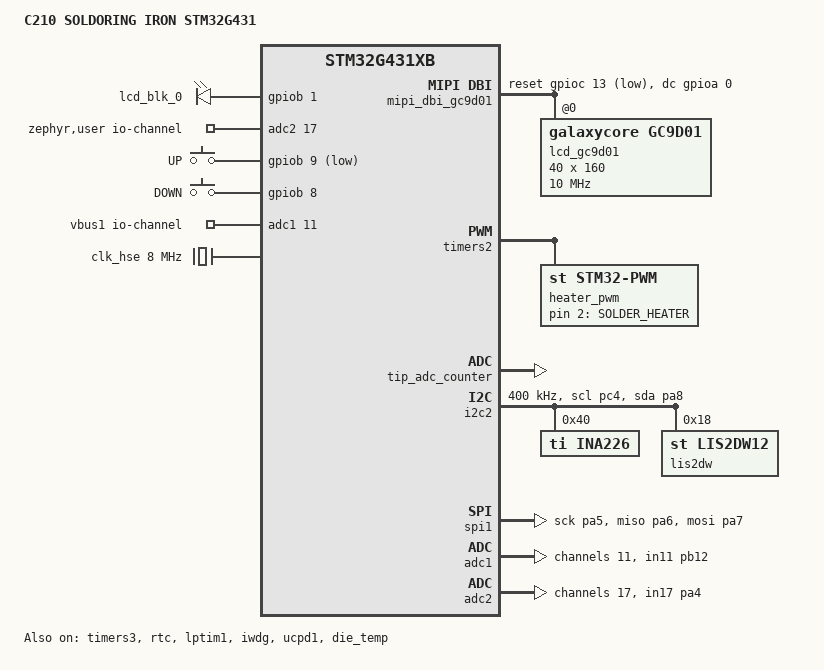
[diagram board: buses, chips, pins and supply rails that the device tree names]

/dts-v1/;
#include <st/g4/stm32g431Xb.dtsi>
#include <st/g4/stm32g431c(6-8-b)ux-pinctrl.dtsi>
#include <zephyr/dt-bindings/usb-c/pd.h>
#include <zephyr/dt-bindings/input/input-event-codes.h>

#include <zephyr/dt-bindings/display/panel.h>
#include <zephyr/dt-bindings/sensor/lis2dw12.h>
#include <zephyr/dt-bindings/pwm/pwm.h>



#include <zephyr/dt-bindings/mipi_dbi/mipi_dbi.h>


/ {
	model = "C210 SOLDORING IRON STM32G431";
	compatible = "mao,c210_v2_g431";

	chosen {
		zephyr,sram = &sram0;
		zephyr,flash = &flash0;
		zephyr,display = &lcd_gc9d01;

	};

	aliases {
		btn0 = &button_0;
		btn1 = &button_1;
		lcd-blk = &lcd_blk_0;
		ina226 = &ina226;
		usbc-port0 = &usbc1;
		watchdog0 = &iwdg;
	};

	leds: leds {
		compatible = "gpio-leds";
        lcd_blk_0: lcd_blk0 {
			gpios = <&gpiob 1 GPIO_ACTIVE_HIGH>;
		};
	};

    zephyr,user {
        io-channels = <&adc2 17>;
    };



	buttons: buttons {
		compatible = "gpio-keys";
		polling-mode;
		debounce-interval-ms = <30>;
		button_0: button0 {
			label = "UP";
			gpios = <&gpiob 9 (GPIO_PULL_UP | GPIO_ACTIVE_LOW)>;
			zephyr,code = <INPUT_KEY_0>;
		};
		button_1: button1 {
			label = "DOWN";
			gpios = <&gpiob 8  (GPIO_PULL_DOWN | GPIO_ACTIVE_HIGH)>;
			zephyr,code = <INPUT_KEY_1>;
		};
	};

	longpress {
          input = <&buttons>;
          compatible = "zephyr,input-longpress";
          input-codes = <INPUT_KEY_0>,<INPUT_KEY_1>;
          short-codes = <INPUT_KEY_A>,<INPUT_KEY_B>;
          long-codes = <INPUT_KEY_X>,<INPUT_KEY_Y>;
          long-delay-ms = <1000>;
    };
	vbus1: vbus {
		compatible = "zephyr,usb-c-vbus-adc";
		status = "okay";
		io-channels = <&adc1 11>;
		output-ohms = <3600>;
		full-ohms = <(35000+3600)>;
	};
	ports {
		#address-cells = <1>;
		#size-cells = <0>;

		usbc1: usbc-port@1 {
			compatible = "usb-c-connector";
			status = "okay";
			reg = <1>;
			tcpc = <&ucpd1>;
			vbus = <&vbus1>;
			data-role = "device";
			power-role = "sink";
			sink-pdos = <
				PDO_FIXED(5000, 100, PDO_FIXED_USB_COMM)
				PDO_FIXED(9000, 1000, 0)
			>;
		};
		
    };
    pwmleds: pwmleds {
        compatible = "pwm-leds";
        status = "okay";
        solder_heater: solder_heater {
            pwms = <&heater_pwm 2 PWM_USEC(50) PWM_POLARITY_NORMAL>; /* TIM2_CH2 */
            label = "SOLDER_HEATER";
        }; 
    };

	mipi_dbi_gc9d01: mipi_dbi_gc9d01 {
		compatible = "zephyr,mipi-dbi-spi";
		spi-dev = <&spi1>;
		dc-gpios = <&gpioa 0 GPIO_ACTIVE_HIGH>;
		reset-gpios = <&gpioc 13 GPIO_ACTIVE_LOW>;
		#address-cells = <1>;
		#size-cells = <0>;

		 lcd_gc9d01: gc9d01@0 {
            compatible = "galaxycore,gc9d01";
            reg = <0>;
            mipi-max-frequency = <10000000>; 
            mipi-mode= "MIPI_DBI_MODE_SPI_4WIRE";
            width = <40>;
            height = <160>;
            pixel-format = <PANEL_PIXEL_FORMAT_RGB_565>;
            orientation = "90";
            //display-inversion; /* 可选，启用颜色反转 */
            pwrctrl2= [2c];
            pwrctrl3= [1a];
            pwrctrl4= [28];
            gamma1= [13 15 04 05 01 38];
            gamma2= [4B B8 7B 34 35 EF];
            gamma3= [13 15 04 05 01 34];
            gamma4= [47 B4 72 34 35 DA];

         };
    };

};


/* 启用 timers2 和 PWM 子节点 */
&timers2 {
    status = "okay";

    heater_pwm: heater_pwm {
        compatible = "st,stm32-pwm";
        #pwm-cells = <3>;
        pinctrl-0 = <&tim2_ch2_pa1>;
        pinctrl-names = "default";
        status = "okay";
    };
};

&timers3 {
    status = "okay";
    st,prescaler = <143>;


    //用counter对烙铁头热电偶定时采样
    tip_adc_counter: tip_adc_counter {
				compatible = "st,stm32-counter";
				status = "okay";
				label = "COUNTER_2";
	};
};



&clk_lsi {
	status = "okay";
};

&clk_lse {
	status = "disabled";
};

&clk_hsi {
	status = "disabled";
};

&clk_hse {
	status = "okay";
	clock-frequency = <DT_FREQ_M(8)>;
};

&rcc {
	clocks = <&pll>;
	clock-frequency = <DT_FREQ_M(144)>;
	ahb-prescaler = <1>;
	apb1-prescaler = <1>;
	apb2-prescaler = <1>;
};

&pll {
	status = "okay";
	div-m = <1>;
	mul-n = <36>;
	div-p = <2>;
	div-q = <6>;
	div-r = <2>;
	clocks = <&clk_hse>;
};

&rtc {
	status = "okay";
	clocks = <&rcc STM32_CLOCK_BUS_APB1 0x00000400>,
		 <&rcc STM32_SRC_LSI RTC_SEL(2)>;
};

stm32_lp_tick_source: &lptim1 {
    status = "okay";
    clocks = <&rcc STM32_CLOCK_BUS_APB1 0x80000000>, /* APB1 时钟 */
             <&rcc STM32_SRC_LSI LPTIM1_SEL(1)>; /* 使用 LSI 作为 LPTIM1 时钟源 */
};

&flash0 {
	partitions {
		compatible = "fixed-partitions";
		#address-cells = <1>;
		#size-cells = <1>;

		/* 4KiB of storage at the end of the 128KiB FLASH */
		storage_partition: partition@1f000 {
			label = "storage";
			reg = <0x0001f000 DT_SIZE_K(4)>;
		};
	};
};

&iwdg {
	status = "okay";
};

//&usart2 {
//	status = "disabled";
//	pinctrl-0 = <&usart2_tx_pa2 &usart2_rx_pa3>;
//	pinctrl-names = "default";
//	current-speed = <115200>;
//};


&i2c2 {
	status = "okay";
	pinctrl-0 = <&i2c2_scl_pc4 &i2c2_sda_pa8>;
	pinctrl-names = "default";
	clock-frequency = <I2C_BITRATE_FAST>;

	#address-cells = <1>;
	#size-cells = <0>;

	ina226: ina226@40 {
		compatible = "ti,ina226";
		status = "okay";
		reg = <0x40>;
		avg-count = <4>;
		vbus-conversion-time-us = <1100>;
		vshunt-conversion-time-us = <1100>;
		operating-mode = "Shunt and Bus, Continuous";
		current-lsb-microamps = <250>;
		rshunt-micro-ohms = <5000>; //5mR
	};

    lis2dw: lis2dw@18{
        compatible = "st,lis2dw12";
        status = "okay";
        reg = <0x18>;
        //wakeup-duration = <LIS2DW12_DT_WAKEUP_4_ODR>;
        //ff-threshold = <LIS2DW12_DT_FF_THRESHOLD_500_mg>;
        //tap-mode = <LIS2DW12_DT_SINGLE_DOUBLE_TAP>;
        power-mode = <LIS2DW12_DT_HP_MODE>;
        bw-filt = <LIS2DW12_DT_FILTER_BW_ODR_DIV_2>;
        odr = <100>;
        range = <2>;
        //irq-gpios = <&gpioc 6 GPIO_ACTIVE_HIGH>; // 可选：中断引脚
    };
	
};

&spi1 {
	status = "okay";
	pinctrl-0 = <
		         &spi1_sck_pa5
	             &spi1_miso_pa6
                 &spi1_mosi_pa7
	>;
	pinctrl-names = "default";
    cs-gpios = <&gpiob 10 GPIO_ACTIVE_LOW>;
    
};

&adc1 {
	#address-cells = <1>;
	#size-cells = <0>;

	pinctrl-0 = <&adc1_in11_pb12	    /* VBUS */
		    >;
	pinctrl-names = "default";
	st,adc-clock-source = "SYNC";
	st,adc-prescaler = <4>;
	status = "okay";

	channel@b {
		reg = <0xb>;
		zephyr,gain = "ADC_GAIN_1";
		zephyr,reference = "ADC_REF_INTERNAL";
		zephyr,vref-mv = <3300>;
		zephyr,acquisition-time = <ADC_ACQ_TIME_DEFAULT>;
		zephyr,resolution = <12>;
	};
};


&adc2 {
	#address-cells = <1>;
	#size-cells = <0>;

	pinctrl-0 = <&adc2_in17_pa4	    /* c210 temp */
		    >;
	pinctrl-names = "default";
	st,adc-clock-source = "SYNC";
	st,adc-prescaler = <4>;
	status = "okay";

	channel@11 {
		reg = <0x11>;
		zephyr,gain = "ADC_GAIN_1";
		zephyr,reference = "ADC_REF_INTERNAL";
		zephyr,vref-mv = <3300>;
		zephyr,acquisition-time = <ADC_ACQ_TIME(ADC_ACQ_TIME_TICKS, 6)>;
		zephyr,resolution = <12>;
        zephyr,oversampling = <4>;
	};
};

//&dma1{
//	status = "okay";
//};

&ucpd1 {
	psc-ucpdclk = <1>;
	hbitclkdiv = <27>;
	pinctrl-0 = <&ucpd1_cc1_pb6 &ucpd1_cc2_pb4>;
	pinctrl-names = "default";
	status = "okay";
	dead-battery;
};

//stm32温度
&die_temp {
    status = "okay";
};

